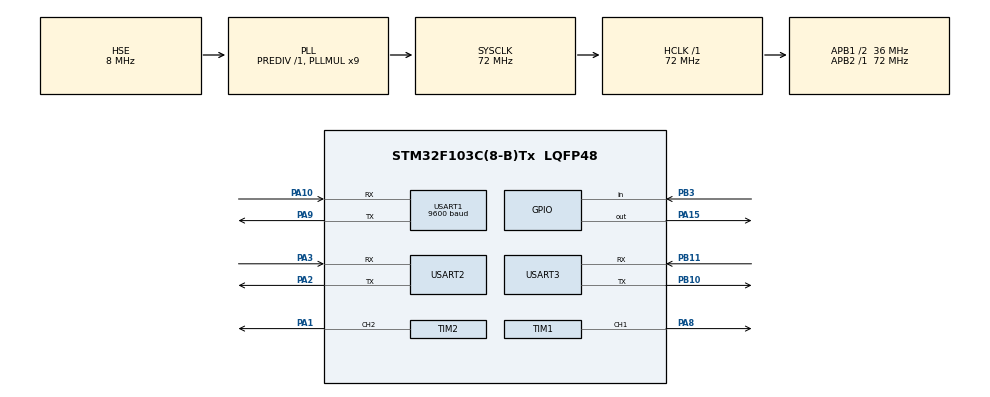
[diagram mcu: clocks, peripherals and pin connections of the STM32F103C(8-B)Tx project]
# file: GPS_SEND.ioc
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Dma.Request0=USART3_TX
Dma.Request1=USART3_RX
Dma.Request2=USART2_RX
Dma.Request3=USART2_TX
Dma.USART2_RX.2.Direction=DMA_PERIPH_TO_MEMORY
Dma.USART2_RX.2.Instance=DMA1_Channel6
Dma.USART2_RX.2.MemDataAlignment=DMA_MDATAALIGN_BYTE
Dma.USART2_RX.2.MemInc=DMA_MINC_ENABLE
Dma.USART2_RX.2.Mode=DMA_CIRCULAR
Dma.USART2_RX.2.PeriphDataAlignment=DMA_PDATAALIGN_BYTE
Dma.USART2_RX.2.PeriphInc=DMA_PINC_DISABLE
Dma.USART2_RX.2.Priority=DMA_PRIORITY_VERY_HIGH
Dma.USART2_TX.3.Direction=DMA_MEMORY_TO_PERIPH
Dma.USART2_TX.3.Instance=DMA1_Channel7
Dma.USART2_TX.3.MemDataAlignment=DMA_MDATAALIGN_BYTE
Dma.USART2_TX.3.MemInc=DMA_MINC_ENABLE
Dma.USART2_TX.3.Mode=DMA_NORMAL
Dma.USART2_TX.3.PeriphDataAlignment=DMA_PDATAALIGN_BYTE
Dma.USART2_TX.3.PeriphInc=DMA_PINC_DISABLE
Dma.USART2_TX.3.Priority=DMA_PRIORITY_VERY_HIGH
Dma.USART3_RX.1.Direction=DMA_PERIPH_TO_MEMORY
Dma.USART3_RX.1.Instance=DMA1_Channel3
Dma.USART3_RX.1.MemDataAlignment=DMA_MDATAALIGN_BYTE
Dma.USART3_RX.1.MemInc=DMA_MINC_ENABLE
Dma.USART3_RX.1.Mode=DMA_CIRCULAR
Dma.USART3_RX.1.PeriphDataAlignment=DMA_PDATAALIGN_BYTE
Dma.USART3_RX.1.PeriphInc=DMA_PINC_DISABLE
Dma.USART3_RX.1.Priority=DMA_PRIORITY_VERY_HIGH
Dma.USART3_TX.0.Direction=DMA_MEMORY_TO_PERIPH
Dma.USART3_TX.0.Instance=DMA1_Channel2
Dma.USART3_TX.0.MemDataAlignment=DMA_MDATAALIGN_BYTE
Dma.USART3_TX.0.MemInc=DMA_MINC_ENABLE
Dma.USART3_TX.0.Mode=DMA_NORMAL
Dma.USART3_TX.0.PeriphDataAlignment=DMA_PDATAALIGN_BYTE
Dma.USART3_TX.0.PeriphInc=DMA_PINC_DISABLE
Dma.USART3_TX.0.Priority=DMA_PRIORITY_VERY_HIGH
Mcu.Family=STM32F1
Mcu.Name=STM32F103C(8-B)Tx
Mcu.Package=LQFP48
NVIC.DMA1_Channel2_IRQn=true\:0\:0\:false\:false\:true\:false\:true\:true
NVIC.DMA1_Channel3_IRQn=true\:0\:0\:false\:false\:true\:false\:true\:true
NVIC.DMA1_Channel6_IRQn=true\:0\:0\:false\:false\:true\:false\:true\:true
NVIC.DMA1_Channel7_IRQn=true\:0\:0\:false\:false\:true\:false\:true\:true
NVIC.PriorityGroup=NVIC_PRIORITYGROUP_4
NVIC.TIM1_UP_IRQn=true\:0\:0\:false\:false\:true\:true\:true\:true
NVIC.TIM2_IRQn=true\:0\:0\:false\:false\:true\:true\:true\:true
NVIC.TIM3_IRQn=true\:0\:0\:false\:false\:true\:true\:true\:true
NVIC.TIM4_IRQn=true\:0\:0\:false\:false\:true\:true\:true\:true
NVIC.USART1_IRQn=true\:0\:0\:false\:false\:true\:true\:true\:true
NVIC.USART2_IRQn=true\:0\:0\:false\:false\:true\:true\:true\:true
NVIC.USART3_IRQn=true\:0\:0\:false\:false\:true\:true\:true\:true
PA1.Signal=S_TIM2_CH2
PA10.Mode=Asynchronous
PA10.Signal=USART1_RX
PA13.Mode=Serial_Wire
PA13.Signal=SYS_JTMS-SWDIO
PA14.Mode=Serial_Wire
PA14.Signal=SYS_JTCK-SWCLK
PA15.GPIO_Speed=GPIO_SPEED_FREQ_HIGH
PA15.PinState=GPIO_PIN_SET
PA15.Signal=GPIO_Output
PA2.Mode=Asynchronous
PA2.Signal=USART2_TX
PA3.Mode=Asynchronous
PA3.Signal=USART2_RX
PA8.Signal=S_TIM1_CH1
PA9.Mode=Asynchronous
PA9.Signal=USART1_TX
PB10.Mode=Asynchronous
PB10.Signal=USART3_TX
PB11.Mode=Asynchronous
PB11.Signal=USART3_RX
PB3.Signal=GPIO_Input
PD0-OSC_IN.Mode=HSE-External-Oscillator
PD0-OSC_IN.Signal=RCC_OSC_IN
PD1-OSC_OUT.Mode=HSE-External-Oscillator
PD1-OSC_OUT.Signal=RCC_OSC_OUT
ProjectManager.HeapSize=0x200
ProjectManager.StackSize=0x400
ProjectManager.TargetToolchain=MDK-ARM V5.32
RCC.AHBFreq_Value=72000000
RCC.APB1CLKDivider=RCC_HCLK_DIV2
RCC.APB1Freq_Value=36000000
RCC.APB1TimFreq_Value=72000000
RCC.APB2Freq_Value=72000000
RCC.APB2TimFreq_Value=72000000
RCC.HCLKFreq_Value=72000000
RCC.PLLMUL=RCC_PLL_MUL9
RCC.PLLSourceVirtual=RCC_PLLSOURCE_HSE
RCC.SYSCLKFreq_VALUE=72000000
RCC.SYSCLKSource=RCC_SYSCLKSOURCE_PLLCLK
RCC.USBFreq_Value=72000000
SH.S_TIM1_CH1.0=TIM1_CH1,PWM Generation1 CH1
SH.S_TIM2_CH2.0=TIM2_CH2,PWM Generation2 CH2
TIM1.Channel-PWM\ Generation1\ CH1=TIM_CHANNEL_1
TIM1.Period=9999
TIM1.Prescaler=7199
TIM2.AutoReloadPreload=TIM_AUTORELOAD_PRELOAD_DISABLE
TIM2.Channel-PWM\ Generation2\ CH2=TIM_CHANNEL_2
TIM2.Period=999
TIM2.Prescaler=7199
TIM2.Pulse-PWM\ Generation2\ CH2=500
TIM2.TIM_MasterOutputTrigger=TIM_TRGO_RESET
TIM3.AutoReloadPreload=TIM_AUTORELOAD_PRELOAD_ENABLE
TIM3.Period=999
TIM3.Prescaler=7199
TIM4.AutoReloadPreload=TIM_AUTORELOAD_PRELOAD_ENABLE
TIM4.Period=99
TIM4.Prescaler=7199
USART1.BaudRate=9600
USART1.VirtualMode=VM_ASYNC
USART2.VirtualMode=VM_ASYNC
USART3.VirtualMode=VM_ASYNC
VP_TIM1_VS_ClockSourceINT.Mode=Internal
VP_TIM3_VS_ClockSourceINT.Mode=Internal
VP_TIM4_VS_ClockSourceINT.Mode=Internal
board=custom

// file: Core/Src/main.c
/* USER CODE BEGIN Header */
/**
  ******************************************************************************
  * @file           : main.c
  * @brief          : Main program body
  ******************************************************************************
  * @attention
  *
  * Copyright (c) 2025 STMicroelectronics.
  * All rights reserved.
  *
  * This software is licensed under terms that can be found in the LICENSE file
  * in the root directory of this software component.
  * If no LICENSE file comes with this software, it is provided AS-IS.
  *
  ******************************************************************************
  */
/* USER CODE END Header */
#include "main.h"
#include "dma.h"
#include "tim.h"
#include "usart.h"
#include "gpio.h"

/* USER CODE BEGIN Includes */
#include "gps.h"
/* USER CODE END Includes */

void SystemClock_Config(void);

/* USER CODE BEGIN 0 */
extern uint16_t USART3_RX_STA;
uint8_t USART3_RX_BUF[USART3_MAX_RECV_LEN];
uint8_t USART2_RX_BUF[USART2_MAX_RECV_LEN];
nmea_msg gpsx;
gps_packet gps_send;
/* USER CODE END 0 */

int main(void)
{

  /* MCU Configuration--------------------------------------------------------*/

  /* Reset of all peripherals, Initializes the Flash interface and the Systick. */
  HAL_Init();

  /* Configure the system clock */
  SystemClock_Config();

  /* Initialize all configured peripherals */
  MX_GPIO_Init();
  MX_DMA_Init();
  MX_USART3_UART_Init();
  MX_USART1_UART_Init();
  MX_TIM2_Init();
  MX_TIM1_Init();
  MX_TIM4_Init();
  MX_USART2_UART_Init();
  MX_TIM3_Init();
  /* USER CODE BEGIN 2 */
	__HAL_UART_ENABLE_IT(&huart2, UART_IT_RXNE);
	HAL_UART_Receive_DMA(&huart2, USART2_RX_BUF, USART2_MAX_RECV_LEN);
	HAL_UART_Receive_IT(&huart2, USART2_RX_BUF, USART2_MAX_RECV_LEN);

	__HAL_UART_ENABLE_IT(&huart3, UART_IT_RXNE);
	HAL_UART_Receive_DMA(&huart3, USART3_RX_BUF, USART3_MAX_RECV_LEN);
	HAL_UART_Receive_IT(&huart3, USART3_RX_BUF, USART3_MAX_RECV_LEN);

	HAL_TIM_Base_Start_IT(&htim1);
	HAL_TIM_Base_Start(&htim1);
	HAL_TIM_PWM_Start(&htim1, TIM_CHANNEL_1);

	HAL_TIM_Base_Start(&htim2);
	HAL_TIM_PWM_Start(&htim2, TIM_CHANNEL_2);

	HAL_TIM_Base_Start_IT(&htim3);
	HAL_TIM_Base_Start_IT(&htim4);

  /* USER CODE END 2 */

  /* Infinite loop */
  while (1)
  {

    /* USER CODE BEGIN 3 */
		if(USART3_RX_STA & 0X8000)
		{
				USART3_RX_STA=0;
				GPS_Analysis(&gpsx,(uint8_t*)USART3_RX_BUF);
		}
		HAL_Delay(1);
  }
  /* USER CODE END 3 */
}

void SystemClock_Config(void)
{
  RCC_OscInitTypeDef RCC_OscInitStruct = {0};
  RCC_ClkInitTypeDef RCC_ClkInitStruct = {0};

  /** Initializes the RCC Oscillators according to the specified parameters
  * in the RCC_OscInitTypeDef structure.
  */
  RCC_OscInitStruct.OscillatorType = RCC_OSCILLATORTYPE_HSE;
  RCC_OscInitStruct.HSEState = RCC_HSE_ON;
  RCC_OscInitStruct.HSEPredivValue = RCC_HSE_PREDIV_DIV1;
  RCC_OscInitStruct.HSIState = RCC_HSI_ON;
  RCC_OscInitStruct.PLL.PLLState = RCC_PLL_ON;
  RCC_OscInitStruct.PLL.PLLSource = RCC_PLLSOURCE_HSE;
  RCC_OscInitStruct.PLL.PLLMUL = RCC_PLL_MUL9;
  if (HAL_RCC_OscConfig(&RCC_OscInitStruct) != HAL_OK)
  {
    Error_Handler();
  }

  /** Initializes the CPU, AHB and APB buses clocks
  */
  RCC_ClkInitStruct.ClockType = RCC_CLOCKTYPE_HCLK|RCC_CLOCKTYPE_SYSCLK
                              |RCC_CLOCKTYPE_PCLK1|RCC_CLOCKTYPE_PCLK2;
  RCC_ClkInitStruct.SYSCLKSource = RCC_SYSCLKSOURCE_PLLCLK;
  RCC_ClkInitStruct.AHBCLKDivider = RCC_SYSCLK_DIV1;
  RCC_ClkInitStruct.APB1CLKDivider = RCC_HCLK_DIV2;
  RCC_ClkInitStruct.APB2CLKDivider = RCC_HCLK_DIV1;

  if (HAL_RCC_ClockConfig(&RCC_ClkInitStruct, FLASH_LATENCY_2) != HAL_OK)
  {
    Error_Handler();
  }
}
/* USER CODE BEGIN 4 */
void HAL_TIM_PeriodElapsedCallback(TIM_HandleTypeDef *htim)
{
    if(htim->Instance == TIM4)
    {
        USART3_RX_STA |= (1 << 15);
        HAL_TIM_Base_Stop_IT(&htim4);
    }
}
/* USER CODE END 4 */

void Error_Handler(void)
{
  __disable_irq();
  while (1)
  {
  }
}
